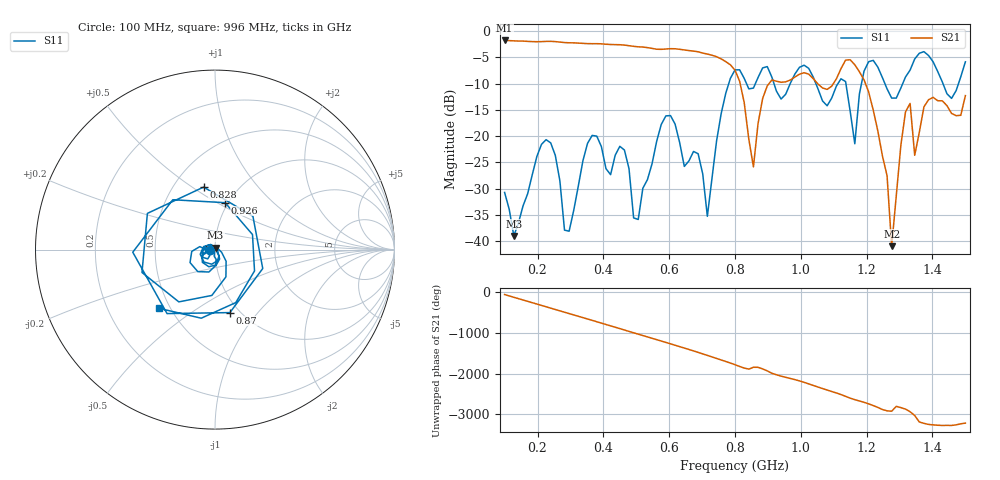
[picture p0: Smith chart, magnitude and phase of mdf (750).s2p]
! NanoVNA-App
! Date: 2025-09-25 15:44:15
! Start: 100MHz Stop: 1,5GHz Points: 101
! S-Parameter data: F S11 S21 S12 S22
# Hz S RI R 50
!  Frequency  S11_Real  S11_Imag  S21_Real  S21_Imag  S12_Real  S12_Imag  S22_Real  S22_Imag
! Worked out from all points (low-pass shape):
!   101 points, 100 MHz to 1.5 GHz, reference 50 ohm
!   highest |S21| = -1.80 dB at 100 MHz (marker M1); lowest = -41.0 dB at 1.276 GHz (marker M2)
!   |S21| within 3 dB of the highest: start of sweep to 739.4 MHz
!   lowest |S11| = -39.0 dB at 128 MHz (marker M3), VSWR 1.02, Z = 50.3 + j1.08 ohm
!   |S11| at or under -10 dB: start of sweep to 781.1 MHz; 1.046 GHz to 1.113 GHz (67.31 MHz wide, 6.24 % of centre); 1.255 GHz to 1.31 GHz (54.32 MHz wide, 4.24 % of centre) (the widest 3 of 7)
!   S12 and S22 are empty: the file has one direction only
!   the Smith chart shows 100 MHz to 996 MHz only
!   S11 on the Smith chart (normalised r, x): 100 MHz: 0.94, -0.01; 828 MHz: 0.70, +0.56; 870 MHz: 0.90, -0.73; 926 MHz: 0.97, +0.55; 996 MHz: 0.44, -0.36
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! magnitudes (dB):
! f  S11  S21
! 100 MHz  -30.7  -1.8
! 128 MHz  -39.0  -1.9
! 212 MHz  -21.6  -2.0
! 282 MHz  -37.9  -2.2
! 338 MHz  -24.7  -2.4
! 464 MHz  -22.6  -2.7
! 506 MHz  -35.9  -3.0
! 576 MHz  -17.8  -3.5
! 716 MHz  -35.3  -4.4
! 800 MHz  -7.4  -7.4
! 828 MHz  -9.0  -13.6
! 856 MHz  -10.9  -25.9
! 870 MHz  -8.9  -17.6
! 926 MHz  -11.5  -9.6
! 996 MHz  -6.9  -8.2
! 1.038 GHz  -8.8  -9.1
! 1.136 GHz  -9.6  -5.5
! 1.164 GHz  -21.5  -6.4
! 1.192 GHz  -7.7  -9.3
! 1.276 GHz  -12.8  -41.0
! 1.318 GHz  -8.8  -15.4
! 1.5 GHz  -5.9  -12.3
